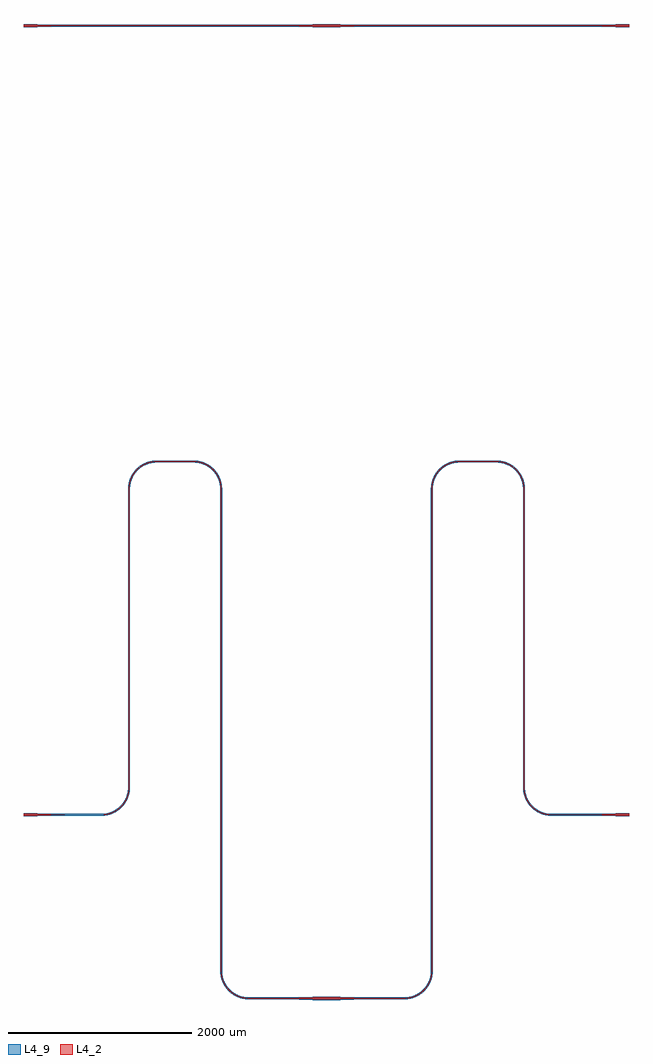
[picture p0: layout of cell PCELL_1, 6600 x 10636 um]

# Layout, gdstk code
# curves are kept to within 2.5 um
from math import pi, radians
import gdstk
lib = gdstk.Library(unit=1e-6, precision=5e-09)
def R(c, l, rs):  # rectangles x0, y0, x1, y1
    for r in rs: c.add(gdstk.rectangle(r[:2], r[2:], *l))
def P(c, l, *ps):  # polygons
    for p in ps: c.add(gdstk.Polygon(p, *l))
L4_2 = (4, 2)
L4_9 = (4, 9)

c_sm = lib.new_cell('SM')
R(c_sm, L4_2, [(0,-1.9,400,1.9)])
P(c_sm, L4_9, [(0,-9.9),(400,-9.9),(400,-1.9),(400,1.9),(400,9.9),(0,9.9),(0,1.9),(0,-1.9)])

taper20_0 = lib.new_cell('taper20_0')
P(taper20_0, L4_2, [(0,10),(0,-10),(300,-1.9),(300,1.9)])
P(taper20_0, L4_9, [(0,18),(0,10),(0,-10),(0,-18),(300,-9.9),(300,-1.9),(300,1.9),(300,9.9)])

straight20_0 = lib.new_cell('straight20_0')
R(straight20_0, L4_2, [(0,-10,150,10)])
P(straight20_0, L4_9, [(0,-18),(150,-18),(150,-10),(150,10),(150,18),(0,18),(0,10),(0,-10)])

pcell_1_link1 = lib.new_cell('PCELL_1_link1')
R(pcell_1_link1, L4_2, [(450,21048.1,2850,21051.9)])
P(pcell_1_link1, L4_9, [(450,21040.1),(2850,21040.1),(2850,21048.1),(2850,21051.9),(2850,21059.9),(450,21059.9),(450,21051.9),(450,21048.1)])

pcell_1_link2 = lib.new_cell('PCELL_1_link2')
R(pcell_1_link2, L4_2, [(3750,21048.1,6150,21051.9)])
P(pcell_1_link2, L4_9, [(3750,21040.1),(6150,21040.1),(6150,21048.1),(6150,21051.9),(6150,21059.9),(3750,21059.9),(3750,21051.9),(3750,21048.1)])

pcell_1_link3 = lib.new_cell('PCELL_1_link3')
P(pcell_1_link3, L4_2, [(450,12448.1),(858.42,12448.28),(879.21,12449.72),(899.855,12452.585),(920.25,12456.875),(940.3,12462.555),(955.055,12467.72),(974.275,12475.775),(992.895,12485.14),(1006.41,12492.995),(1023.76,12504.54),(1040.28,12517.25),(1055.875,12531.07),(1066.93,12542.125),(1080.75,12557.72),(1090.39,12570.03),(1102.23,12587.18),(1112.86,12605.105),(1122.225,12623.725),(1128.39,12638.09),(1133.81,12652.75),(1139.835,12672.7),(1144.475,12693.02),(1147.7,12713.61),(1149.495,12734.375),(1149.9,12749.99),(1149.9,15999.99),(1151.01,16025.695),(1154.33,16051.2),(1157.375,16066.335),(1161.195,16081.29),(1169.27,16105.71),(1179.42,16129.34),(1186.475,16143.07),(1194.23,16156.415),(1208.66,16177.705),(1218.18,16189.855),(1228.315,16201.5),(1246.5,16219.685),(1258.145,16229.82),(1270.295,16239.34),(1291.585,16253.77),(1314.045,16266.305),(1337.495,16276.86),(1356.86,16283.825),(1381.665,16290.625),(1396.8,16293.67),(1417.18,16296.505),(1432.57,16297.7),(1450,16298.1),(1450,16301.9),(1421.975,16300.775),(1396.145,16297.415),(1380.82,16294.33),(1365.675,16290.46),(1340.945,16282.28),(1317.01,16272.005),(1303.105,16264.86),(1289.59,16257.005),(1276.5,16248.46),(1263.87,16239.25),(1243.935,16222.485),(1232.69,16211.625),(1222.025,16200.195),(1205.61,16179.97),(1190.995,16158.41),(1183.14,16144.895),(1175.995,16130.99),(1165.72,16107.055),(1157.54,16082.325),(1153.67,16067.18),(1150.585,16051.855),(1147.225,16026.025),(1146.1,16000.01),(1146.1,12750.01),(1145.39,12729.435),(1143.925,12714.07),(1140.74,12693.735),(1136.165,12673.675),(1130.21,12653.975),(1124.86,12639.495),(1116.58,12620.66),(1109.525,12606.93),(1101.77,12593.585),(1090.37,12576.45),(1077.82,12560.145),(1064.175,12544.74),(1049.5,12530.315),(1033.86,12516.935),(1021.55,12507.63),(1004.415,12496.23),(986.535,12486.045),(972.685,12479.23),(953.71,12471.27),(939.14,12466.175),(919.34,12460.56),(899.2,12456.33),(878.82,12453.495),(858.29,12452.08),(450,12451.9)])
P(pcell_1_link3, L4_9, [(450,12440.1),(858.695,12440.285),(901.23,12444.705),(942.745,12454.94),(977.62,12468.51),(1010.605,12486.185),(1045.375,12511.08),(1072.73,12536.615),(1096.815,12565.26),(1117.27,12596.595),(1133.795,12630.17),(1147.57,12670.655),(1154.95,12707.34),(1157.9,12749.955),(1158.98,16025.005),(1167.57,16074.275),(1184.495,16121.34),(1209.255,16164.795),(1244.645,16206.895),(1291.545,16244.295),(1340.465,16269.43),(1393.245,16284.885),(1450,16290.1),(1450,16309.9),(1394.77,16305.295),(1338.11,16289.76),(1285.395,16263.815),(1238.525,16228.38),(1202.41,16189.01),(1171.15,16139.26),(1149.845,16084.505),(1139.255,16026.715),(1138.1,12750.045),(1135.34,12710.065),(1128.43,12675.725),(1117.43,12642.465),(1102.505,12610.77),(1080.915,12577.06),(1058.375,12550.25),(1032.76,12526.345),(1004.455,12505.705),(973.87,12488.63),(941.445,12475.365),(897.825,12464.21),(858.015,12460.075),(450,12459.9)])

pcell_1_link4 = lib.new_cell('PCELL_1_link4')
P(pcell_1_link4, L4_2, [(2850,10451.9),(2441.71,10452.08),(2421.18,10453.495),(2395.735,10457.26),(2370.71,10463.195),(2351.12,10469.49),(2332.005,10477.115),(2313.465,10486.045),(2295.585,10496.23),(2282.66,10504.67),(2266.14,10516.935),(2250.5,10530.315),(2235.825,10544.74),(2225.49,10556.205),(2212.66,10572.295),(2203.78,10584.92),(2192.985,10602.44),(2183.42,10620.66),(2175.14,10639.495),(2168.175,10658.86),(2162.56,10678.66),(2158.33,10698.8),(2155.01,10724.305),(2153.9,10750.01),(2153.9,16000.01),(2153.495,16015.625),(2152.28,16031.21),(2150.265,16046.715),(2145.125,16072.25),(2137.81,16097.25),(2132.39,16111.91),(2126.225,16126.275),(2119.32,16140.3),(2111.7,16153.95),(2097.46,16175.76),(2088.035,16188.23),(2077.975,16200.195),(2059.875,16218.93),(2048.265,16229.395),(2036.13,16239.25),(2014.82,16254.23),(1992.3,16267.32),(1978.275,16274.225),(1963.91,16280.39),(1949.25,16285.81),(1934.325,16290.46),(1908.98,16296.475),(1893.56,16299.025),(1878.025,16300.775),(1850,16301.9),(1850,16298.1),(1867.43,16297.7),(1882.82,16296.505),(1903.2,16293.67),(1918.335,16290.625),(1943.14,16283.825),(1967.265,16274.915),(1981.34,16268.58),(1995.07,16261.525),(2017.08,16248.22),(2037.86,16233.065),(2057.26,16216.175),(2068.175,16205.26),(2078.51,16193.795),(2094.37,16173.55),(2108.43,16152.01),(2115.955,16138.535),(2122.77,16124.685),(2128.86,16110.505),(2134.21,16096.025),(2141.44,16071.34),(2146.51,16046.125),(2148.505,16030.82),(2149.7,16015.43),(2150.1,15999.99),(2150.1,10749.99),(2151.225,10723.975),(2154.585,10698.145),(2158.875,10677.75),(2164.555,10657.7),(2169.72,10642.945),(2177.775,10623.725),(2187.14,10605.105),(2194.995,10591.59),(2206.54,10574.24),(2219.25,10557.72),(2233.07,10542.125),(2247.935,10527.515),(2263.77,10513.965),(2280.5,10501.54),(2293.59,10492.995),(2311.7,10482.68),(2330.475,10473.64),(2349.835,10465.915),(2369.675,10459.54),(2395.02,10453.525),(2415.61,10450.3),(2441.58,10448.28),(2850,10448.1)])
P(pcell_1_link4, L4_9, [(2850,10459.9),(2441.985,10460.075),(2397.245,10465.115),(2353.825,10477.015),(2321.64,10490.84),(2287.205,10511.255),(2255.91,10536.21),(2228.345,10565.24),(2207.705,10593.545),(2188.495,10628.66),(2175.79,10661.305),(2166.21,10700.175),(2161.9,10750.045),(2161.485,16016.04),(2152.895,16074.165),(2133.49,16129.62),(2103.965,16180.42),(2065.385,16224.73),(2019.135,16260.965),(1966.875,16287.82),(1910.49,16304.33),(1850,16309.9),(1850,16290.1),(1906.755,16284.885),(1964.17,16267.535),(2012.65,16241.555),(2058.895,16203.355),(2093.555,16160.65),(2117.56,16116.775),(2133.67,16069.425),(2141.71,16015.015),(2142.1,10749.955),(2146.705,10696.77),(2155.345,10660.36),(2170.51,10620.38),(2191.035,10582.865),(2216.525,10548.535),(2246.5,10518.035),(2275.955,10494.955),(2312.74,10473.15),(2352.175,10456.62),(2398.77,10444.705),(2441.305,10440.285),(2850,10440.1)])

pcell_1_link5 = lib.new_cell('PCELL_1_link5')
P(pcell_1_link5, L4_2, [(3750,10448.1),(4158.42,10448.28),(4184.39,10450.3),(4204.98,10453.525),(4230.325,10459.54),(4250.165,10465.915),(4269.525,10473.64),(4288.3,10482.68),(4306.41,10492.995),(4319.5,10501.54),(4336.23,10513.965),(4352.065,10527.515),(4366.93,10542.125),(4380.75,10557.72),(4393.46,10574.24),(4405.005,10591.59),(4412.86,10605.105),(4422.225,10623.725),(4430.28,10642.945),(4435.445,10657.7),(4441.125,10677.75),(4445.415,10698.145),(4448.775,10723.975),(4449.9,10749.99),(4449.9,15999.99),(4450.3,16015.43),(4451.495,16030.82),(4453.49,16046.125),(4458.56,16071.34),(4465.79,16096.025),(4471.14,16110.505),(4477.23,16124.685),(4484.045,16138.535),(4491.57,16152.01),(4505.63,16173.55),(4521.49,16193.795),(4531.825,16205.26),(4542.74,16216.175),(4562.14,16233.065),(4582.92,16248.22),(4604.93,16261.525),(4618.66,16268.58),(4632.735,16274.915),(4656.86,16283.825),(4681.665,16290.625),(4696.8,16293.67),(4717.18,16296.505),(4732.57,16297.7),(4750,16298.1),(4750,16301.9),(4721.975,16300.775),(4706.44,16299.025),(4691.02,16296.475),(4665.675,16290.46),(4650.75,16285.81),(4636.09,16280.39),(4621.725,16274.225),(4607.7,16267.32),(4585.18,16254.23),(4563.87,16239.25),(4551.735,16229.395),(4540.125,16218.93),(4522.025,16200.195),(4511.965,16188.23),(4502.54,16175.76),(4488.3,16153.95),(4480.68,16140.3),(4473.775,16126.275),(4467.61,16111.91),(4462.19,16097.25),(4454.875,16072.25),(4449.735,16046.715),(4447.72,16031.21),(4446.505,16015.625),(4446.1,16000.01),(4446.1,10750.01),(4444.99,10724.305),(4441.67,10698.8),(4437.44,10678.66),(4431.825,10658.86),(4424.86,10639.495),(4416.58,10620.66),(4407.015,10602.44),(4396.22,10584.92),(4387.34,10572.295),(4374.51,10556.205),(4364.175,10544.74),(4349.5,10530.315),(4333.86,10516.935),(4317.34,10504.67),(4304.415,10496.23),(4286.535,10486.045),(4267.995,10477.115),(4248.88,10469.49),(4229.29,10463.195),(4209.305,10458.27),(4183.93,10454.075),(4163.43,10452.3),(4147.99,10451.9),(3750,10451.9)])
P(pcell_1_link5, L4_9, [(3750,10440.1),(4158.695,10440.285),(4206.49,10445.67),(4252.875,10458.385),(4292.02,10475.595),(4324.045,10494.955),(4357.475,10521.62),(4386.92,10552.625),(4411.815,10587.395),(4429.49,10620.38),(4444.655,10660.36),(4453.295,10696.77),(4457.9,10749.955),(4458.29,16015.015),(4466.33,16069.425),(4482.44,16116.775),(4506.445,16160.65),(4541.105,16203.355),(4587.35,16241.555),(4635.83,16267.535),(4693.245,16284.885),(4750,16290.1),(4750,16309.9),(4689.51,16304.33),(4633.125,16287.82),(4580.865,16260.965),(4534.615,16224.73),(4496.035,16180.42),(4466.51,16129.62),(4447.105,16074.165),(4438.515,16016.04),(4438.1,10750.045),(4433.79,10700.175),(4424.21,10661.305),(4411.505,10628.66),(4392.295,10593.545),(4371.655,10565.24),(4347.75,10539.625),(4316.89,10514.135),(4287.23,10495.495),(4250.87,10478.75),(4207.66,10466.1),(4158.015,10460.075),(3750,10459.9)])

pcell_1_link6 = lib.new_cell('PCELL_1_link6')
P(pcell_1_link6, L4_2, [(6150,12451.9),(5741.71,12452.08),(5721.18,12453.495),(5700.8,12456.33),(5680.66,12460.56),(5660.86,12466.175),(5646.29,12471.27),(5627.315,12479.23),(5613.465,12486.045),(5595.585,12496.23),(5578.45,12507.63),(5566.14,12516.935),(5550.5,12530.315),(5535.825,12544.74),(5522.18,12560.145),(5509.63,12576.45),(5498.23,12593.585),(5490.475,12606.93),(5483.42,12620.66),(5475.14,12639.495),(5469.79,12653.975),(5463.835,12673.675),(5459.26,12693.735),(5456.075,12714.07),(5454.61,12729.435),(5453.9,12750.01),(5453.9,16000.01),(5452.775,16026.025),(5449.415,16051.855),(5446.33,16067.18),(5442.46,16082.325),(5434.28,16107.055),(5424.005,16130.99),(5416.86,16144.895),(5409.005,16158.41),(5394.39,16179.97),(5377.975,16200.195),(5367.31,16211.625),(5356.065,16222.485),(5336.13,16239.25),(5323.5,16248.46),(5310.41,16257.005),(5296.895,16264.86),(5282.99,16272.005),(5259.055,16282.28),(5234.325,16290.46),(5219.18,16294.33),(5203.855,16297.415),(5178.025,16300.775),(5150,16301.9),(5150,16298.1),(5167.43,16297.7),(5182.82,16296.505),(5203.2,16293.67),(5218.335,16290.625),(5243.14,16283.825),(5262.505,16276.86),(5285.955,16266.305),(5308.415,16253.77),(5329.705,16239.34),(5341.855,16229.82),(5353.5,16219.685),(5371.685,16201.5),(5381.82,16189.855),(5391.34,16177.705),(5405.77,16156.415),(5413.525,16143.07),(5420.58,16129.34),(5430.73,16105.71),(5438.805,16081.29),(5442.625,16066.335),(5445.67,16051.2),(5448.99,16025.695),(5450.1,15999.99),(5450.1,12749.99),(5450.505,12734.375),(5452.3,12713.61),(5455.525,12693.02),(5460.165,12672.7),(5466.19,12652.75),(5471.61,12638.09),(5477.775,12623.725),(5487.14,12605.105),(5497.77,12587.18),(5509.61,12570.03),(5519.25,12557.72),(5533.07,12542.125),(5544.125,12531.07),(5559.72,12517.25),(5576.24,12504.54),(5593.59,12492.995),(5607.105,12485.14),(5625.725,12475.775),(5644.945,12467.72),(5659.7,12462.555),(5679.75,12456.875),(5700.145,12452.585),(5725.975,12449.225),(5746.79,12448.145),(6150,12448.1)])
P(pcell_1_link6, L4_9, [(6150,12459.9),(5741.985,12460.075),(5702.175,12464.21),(5663.305,12473.79),(5630.66,12486.495),(5595.545,12505.705),(5567.24,12526.345),(5541.625,12550.25),(5519.085,12577.06),(5497.495,12610.77),(5482.57,12642.465),(5471.57,12675.725),(5464.66,12710.065),(5461.9,12750.045),(5460.745,16026.715),(5450.155,16084.505),(5428.85,16139.26),(5397.59,16189.01),(5361.475,16228.38),(5314.605,16263.815),(5261.89,16289.76),(5205.23,16305.295),(5150,16309.9),(5150,16290.1),(5206.755,16284.885),(5259.535,16269.43),(5308.455,16244.295),(5355.355,16206.895),(5390.745,16164.795),(5415.505,16121.34),(5432.43,16074.275),(5441.02,16025.005),(5442.1,12749.955),(5445.05,12707.34),(5452.43,12670.655),(5466.205,12630.17),(5482.73,12596.595),(5506.41,12560.99),(5530.985,12532.765),(5558.78,12507.71),(5589.395,12486.185),(5627.255,12466.315),(5662.36,12453.345),(5704.05,12443.83),(5741.305,12440.285),(6150,12440.1)])

pcell_1 = lib.new_cell('PCELL_1')
pcell_1.add(gdstk.Reference(c_sm, (1450,16300)))
pcell_1.add(gdstk.Reference(taper20_0, (6450,21050), rotation=pi, x_reflection=True))
pcell_1.add(gdstk.Reference(taper20_0, (6450,12450), rotation=pi, x_reflection=True))
pcell_1.add(gdstk.Reference(taper20_0, (3450,21050)))
pcell_1.add(gdstk.Reference(taper20_0, (3450,10450)))
pcell_1.add(gdstk.Reference(taper20_0, (3150,21050), rotation=pi, x_reflection=True))
pcell_1.add(gdstk.Reference(taper20_0, (3150,10450), rotation=pi, x_reflection=True))
pcell_1.add(gdstk.Reference(c_sm, (4750,16300)))
pcell_1.add(gdstk.Reference(straight20_0, (0,12450)))
pcell_1.add(gdstk.Reference(straight20_0, (0,21050)))
pcell_1.add(gdstk.Reference(taper20_0, (150,21050)))
pcell_1.add(gdstk.Reference(taper20_0, (150,12450)))
pcell_1.add(gdstk.Reference(straight20_0, (6450,12450)))
pcell_1.add(gdstk.Reference(straight20_0, (6450,21050)))
pcell_1.add(gdstk.Reference(straight20_0, (3300,10450)))
pcell_1.add(gdstk.Reference(straight20_0, (3300,21050)))
pcell_1.add(gdstk.Reference(straight20_0, (3150,10450)))
pcell_1.add(gdstk.Reference(straight20_0, (3150,21050)))
pcell_1.add(gdstk.Reference(pcell_1_link1, (0,0)))
pcell_1.add(gdstk.Reference(pcell_1_link2, (0,0)))
pcell_1.add(gdstk.Reference(pcell_1_link3, (0,0)))
pcell_1.add(gdstk.Reference(pcell_1_link4, (0,0)))
pcell_1.add(gdstk.Reference(pcell_1_link5, (0,0)))
pcell_1.add(gdstk.Reference(pcell_1_link6, (0,0)))

lib.write_gds('PCELL_1.gds')
